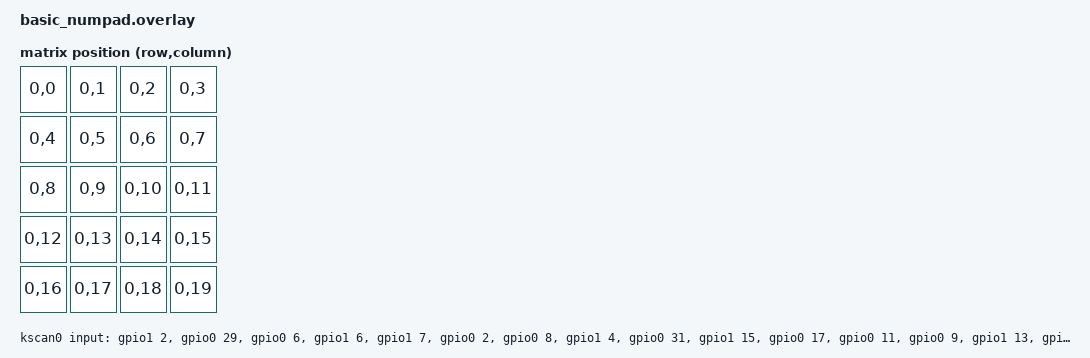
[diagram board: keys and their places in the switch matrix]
#include <dt-bindings/zmk/matrix_transform.h>
#include "basic_numpad-layouts.dtsi"

/ {
    chosen {
        zmk,kscan = &kscan0;
        zmk,physical-layout = &physical_layout0;
    };

    kscan0: kscan {
        compatible = "zmk,kscan-gpio-direct";
        wakeup-source;
        debounce-press-ms = <10>;
        debounce-release-ms = <10>;

        // CORRECTED order -- matches actual confirmed wiring, not the
        // originally planned order. Position 0 = physical top-left key.
        input-gpios
            = <&gpio1 2  (GPIO_ACTIVE_LOW | GPIO_PULL_UP)>   // 102 -- row1 col1
            , <&gpio0 29 (GPIO_ACTIVE_LOW | GPIO_PULL_UP)>   // 029 -- row1 col2
            , <&gpio0 6  (GPIO_ACTIVE_LOW | GPIO_PULL_UP)>   // 006 -- row1 col3
            , <&gpio1 6  (GPIO_ACTIVE_LOW | GPIO_PULL_UP)>   // 106 -- row1 col4
            , <&gpio1 7  (GPIO_ACTIVE_LOW | GPIO_PULL_UP)>   // 107 -- row2 col1
            , <&gpio0 2  (GPIO_ACTIVE_LOW | GPIO_PULL_UP)>   // 002 -- row2 col2
            , <&gpio0 8  (GPIO_ACTIVE_LOW | GPIO_PULL_UP)>   // 008 -- row2 col3
            , <&gpio1 4  (GPIO_ACTIVE_LOW | GPIO_PULL_UP)>   // 104 -- row2 col4
            , <&gpio0 31 (GPIO_ACTIVE_LOW | GPIO_PULL_UP)>   // 031 -- row3 col1
            , <&gpio1 15 (GPIO_ACTIVE_LOW | GPIO_PULL_UP)>   // 115 -- row3 col2
            , <&gpio0 17 (GPIO_ACTIVE_LOW | GPIO_PULL_UP)>   // 017 -- row3 col3
            , <&gpio0 11 (GPIO_ACTIVE_LOW | GPIO_PULL_UP)>   // 011 -- row3 col4
            , <&gpio0 9  (GPIO_ACTIVE_LOW | GPIO_PULL_UP)>   // 009 -- row4 col1
            , <&gpio1 13 (GPIO_ACTIVE_LOW | GPIO_PULL_UP)>   // 113 -- row4 col2
            , <&gpio0 20 (GPIO_ACTIVE_LOW | GPIO_PULL_UP)>   // 020 -- row4 col3
            , <&gpio1 0  (GPIO_ACTIVE_LOW | GPIO_PULL_UP)>   // 100 -- row4 col4
            , <&gpio0 10 (GPIO_ACTIVE_LOW | GPIO_PULL_UP)>   // 010 -- row5 col1
            , <&gpio1 11 (GPIO_ACTIVE_LOW | GPIO_PULL_UP)>   // 111 -- row5 col2
            , <&gpio0 24 (GPIO_ACTIVE_LOW | GPIO_PULL_UP)>   // 024 -- row5 col3
            , <&gpio0 22 (GPIO_ACTIVE_LOW | GPIO_PULL_UP)>   // 022 -- row5 col4
            ;
    };

    transform0: keymap_transform {
        compatible = "zmk,matrix-transform";

        columns = <20>;
        rows = <1>;

        map = <
            RC(0,0)  RC(0,1)  RC(0,2)  RC(0,3)
            RC(0,4)  RC(0,5)  RC(0,6)  RC(0,7)
            RC(0,8)  RC(0,9)  RC(0,10) RC(0,11)
            RC(0,12) RC(0,13) RC(0,14) RC(0,15)
            RC(0,16) RC(0,17) RC(0,18) RC(0,19)
        >;
    };
};
